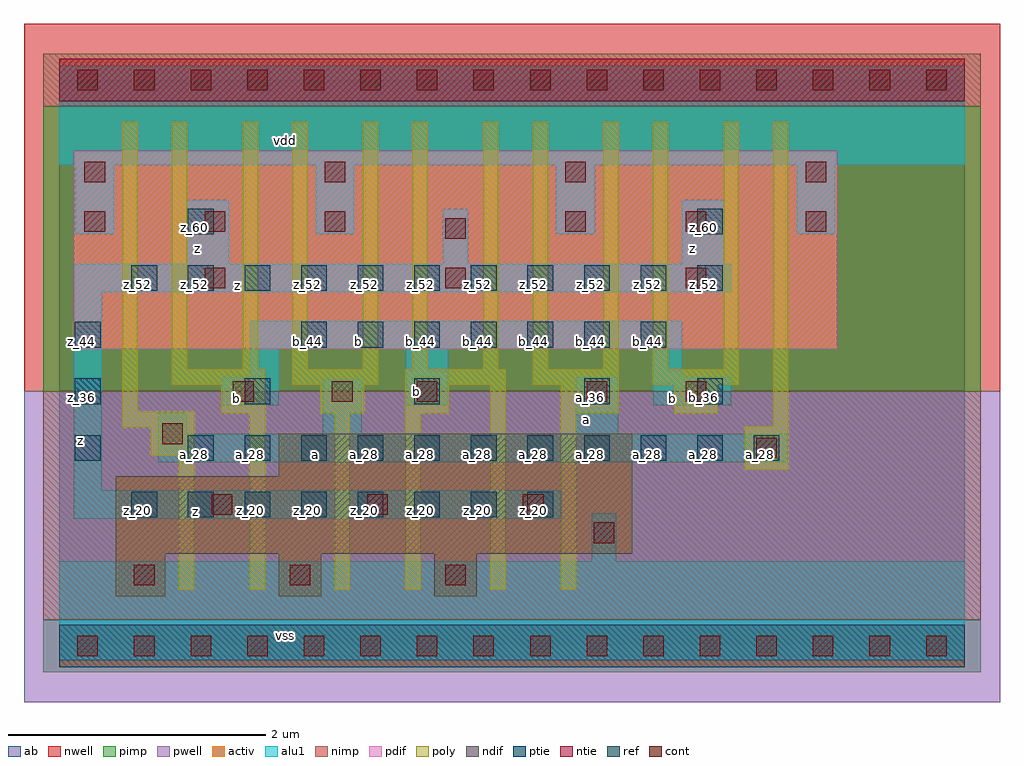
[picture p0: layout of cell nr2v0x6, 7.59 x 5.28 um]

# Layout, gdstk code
import gdstk
lib = gdstk.Library(unit=1e-6, precision=2.5e-09)
def R(c, l, rs):  # rectangles x0, y0, x1, y1
    for r in rs: c.add(gdstk.rectangle(r[:2], r[2:], *l))
def A(c, l, x, y, w, h, nx, ny, dx, dy):  # array of equal rectangles
    R(c, l, [(x+i*dx, y+j*dy, x+i*dx+w, y+j*dy+h) for i in range(nx) for j in range(ny)])
ndif = (3, 0)
pdif = (4, 0)
ntie = (5, 0)
ptie = (6, 0)
ref = (24, 0)
cont = (25, 0)
pwell = (41, 0)
nwell = (42, 0)
activ = (43, 0)
pimp = (44, 0)
nimp = (45, 0)
poly = (46, 0)
alu1 = (49, 0)
ab = (63, 0)

nr2v0x6 = lib.new_cell('nr2v0x6')
R(nr2v0x6, ndif, [(0.44,0.385,0.825,0.715), (1.705,0.385,2.035,0.715), (2.915,0.385,3.245,0.715), (0.44,0.715,4.455,1.32), (1.705,1.32,4.455,1.65)])
R(nr2v0x6, pdif, [(0.11,2.31,6.05,3.85)])
R(nr2v0x6, ntie, [(0,4.235,7.04,4.565)])
R(nr2v0x6, ptie, [(0,-0.165,7.04,0.165)])
A(nr2v0x6, ref, 0.56, 1, 0.2, 0.2, 8, 1, 0.44, 0)
A(nr2v0x6, ref, 1, 1.44, 0.2, 0.2, 11, 1, 0.44, 0)
A(nr2v0x6, ref, 0.12, 1.88, 0.2, 0.2, 4, 1, 1.32, 0)
A(nr2v0x6, ref, 1.88, 2.32, 0.2, 0.2, 7, 1, 0.44, 0)
A(nr2v0x6, ref, 0.56, 2.76, 0.2, 0.2, 11, 1, 0.44, 0)
R(nr2v0x6, ref, [(0.12,1.44,0.32,1.64), (4.96,1.88,5.16,2.08), (0.12,2.32,0.32,2.52), (1,3.2,1.2,3.4), (4.96,3.2,5.16,3.4)])
A(nr2v0x6, cont, 0.14, -0.08, 0.16, 0.16, 16, 2, 0.44, 4.4)
A(nr2v0x6, cont, 0.58, 0.47, 0.16, 0.16, 3, 1, 1.21, 0)
A(nr2v0x6, cont, 1.185, 1.02, 0.16, 0.16, 3, 1, 1.21, 0)
A(nr2v0x6, cont, 1.13, 2.78, 0.16, 0.16, 3, 1, 1.87, 0)
A(nr2v0x6, cont, 0.195, 3.22, 0.16, 0.16, 3, 1, 0.935, 0)
A(nr2v0x6, cont, 3.935, 3.22, 0.16, 0.16, 3, 1, 0.935, 0)
A(nr2v0x6, cont, 0.195, 3.605, 0.16, 0.16, 4, 1, 1.87, 0)
R(nr2v0x6, cont, [(4.155,0.8,4.315,0.96), (5.42,1.46,5.58,1.62), (0.8,1.57,0.96,1.73), (1.35,1.9,1.51,2.06), (2.12,1.9,2.28,2.06), (2.78,1.9,2.94,2.06), (4.1,1.9,4.26,2.06), (4.87,1.9,5.03,2.06), (3,3.165,3.16,3.325)])
R(nr2v0x6, pwell, [(-0.275,-0.44,7.315,1.98)])
R(nr2v0x6, nwell, [(-0.275,1.98,7.315,4.84)])
R(nr2v0x6, activ, [(0,-0.165,7.04,0.165), (0.44,0.385,0.825,0.715), (1.705,0.385,2.035,0.715), (2.915,0.385,3.245,0.715), (0.44,0.715,4.455,1.32), (1.705,1.32,4.455,1.65), (0.11,2.31,6.05,3.85), (0,4.235,7.04,4.565)])
R(nr2v0x6, pimp, [(-0.125,-0.205,7.165,0.205), (-0.125,1.98,7.165,4.195)])
R(nr2v0x6, nimp, [(-0.125,0.205,7.165,1.98), (-0.125,4.195,7.165,4.605)])
R(nr2v0x6, poly, [(0.93,0.435,1.05,1.48), (1.48,0.435,1.6,1.81), (2.14,0.435,2.26,1.81), (2.69,0.435,2.81,1.81), (3.35,0.435,3.47,2.03), (3.9,0.435,4.02,1.81), (5.33,1.37,5.67,1.71), (0.71,1.48,1.05,1.7), (0.49,1.7,1.05,1.82), (5.55,1.71,5.67,4.075), (1.26,1.81,1.6,2.03), (2.03,1.81,2.37,2.03), (2.69,1.81,3.03,2.03), (3.9,1.81,4.35,2.03), (4.78,1.81,5.12,2.03), (0.49,1.82,0.61,4.075), (0.875,2.03,1.6,2.15), (1.81,2.03,2.48,2.15), (2.69,2.03,3.47,2.15), (3.68,2.03,4.35,2.15), (4.615,2.03,5.285,2.15), (0.875,2.15,0.995,4.075), (1.425,2.15,1.545,4.075), (1.81,2.15,1.93,4.075), (2.36,2.15,2.48,4.075), (2.745,2.15,2.865,4.075), (3.295,2.15,3.415,4.075), (3.68,2.15,3.8,4.075), (4.23,2.15,4.35,4.075), (4.615,2.15,4.735,4.075), (5.165,2.15,5.285,4.075)])
A(nr2v0x6, alu1, 0.125, 3.205, 0.3, 0.535, 4, 1, 1.87, 0)
R(nr2v0x6, alu1, [(0,-0.11,7.04,0.66), (4.14,0.66,4.33,1.03), (0.11,0.99,3.905,1.21), (0.11,1.21,0.33,2.75), (0.77,1.43,5.665,1.65), (0.77,1.65,0.99,1.815), (2.05,1.65,2.35,2.075), (4.015,1.65,4.345,2.09), (1.265,1.87,1.705,2.09), (2.695,1.87,3.025,2.31), (4.62,1.87,5.225,2.09), (1.485,2.09,1.705,2.31), (4.62,2.09,4.84,2.31), (1.485,2.31,4.84,2.53), (0.11,2.75,5.225,2.97), (0.99,2.97,1.32,3.465), (2.985,2.97,3.175,3.395), (4.84,2.97,5.17,3.465), (0,3.74,7.04,4.51)])
R(nr2v0x6, ab, [(0,0,7.04,4.4)])
nr2v0x6.add(gdstk.Label('vss', (1.76,0.0825), layer=49, texttype=0))
nr2v0x6.add(gdstk.Label('z', (1.0575,1.045), layer=49, texttype=0))
nr2v0x6.add(gdstk.Label('a', (1.9925,1.485), layer=49, texttype=0))
nr2v0x6.add(gdstk.Label('b', (4.77,1.925), layer=49, texttype=0))
nr2v0x6.add(gdstk.Label('a', (4.0975,1.76), layer=49, texttype=0))
nr2v0x6.add(gdstk.Label('b', (2.7775,1.98), layer=49, texttype=0))
nr2v0x6.add(gdstk.Label('b', (1.375,1.925), layer=49, texttype=0))
nr2v0x6.add(gdstk.Label('b', (2.3225,2.365), layer=49, texttype=0))
nr2v0x6.add(gdstk.Label('z', (0.165,1.595), layer=49, texttype=0))
nr2v0x6.add(gdstk.Label('z', (1.3875,2.805), layer=49, texttype=0))
nr2v0x6.add(gdstk.Label('z', (4.9225,3.0925), layer=49, texttype=0))
nr2v0x6.add(gdstk.Label('z', (1.0725,3.0925), layer=49, texttype=0))
nr2v0x6.add(gdstk.Label('vdd', (1.76,3.9325), layer=49, texttype=0))
nr2v0x6.add(gdstk.Label('a_28', (5.45,1.49), layer=24, texttype=0))
nr2v0x6.add(gdstk.Label('z_20', (0.61,1.05), layer=24, texttype=0))
nr2v0x6.add(gdstk.Label('z_52', (0.61,2.81), layer=24, texttype=0))
nr2v0x6.add(gdstk.Label('z_20', (1.05,1.05), layer=24, texttype=0))
nr2v0x6.add(gdstk.Label('a_28', (1.05,1.49), layer=24, texttype=0))
nr2v0x6.add(gdstk.Label('z_52', (1.05,2.81), layer=24, texttype=0))
nr2v0x6.add(gdstk.Label('z_60', (1.05,3.25), layer=24, texttype=0))
nr2v0x6.add(gdstk.Label('z_20', (1.49,1.05), layer=24, texttype=0))
nr2v0x6.add(gdstk.Label('a_28', (1.49,1.49), layer=24, texttype=0))
nr2v0x6.add(gdstk.Label('b_36', (1.49,1.93), layer=24, texttype=0))
nr2v0x6.add(gdstk.Label('z_52', (1.49,2.81), layer=24, texttype=0))
nr2v0x6.add(gdstk.Label('z_20', (1.93,1.05), layer=24, texttype=0))
nr2v0x6.add(gdstk.Label('a_28', (1.93,1.49), layer=24, texttype=0))
nr2v0x6.add(gdstk.Label('b_44', (1.93,2.37), layer=24, texttype=0))
nr2v0x6.add(gdstk.Label('z_52', (1.93,2.81), layer=24, texttype=0))
nr2v0x6.add(gdstk.Label('z_28', (0.17,1.49), layer=24, texttype=0))
nr2v0x6.add(gdstk.Label('z_36', (0.17,1.93), layer=24, texttype=0))
nr2v0x6.add(gdstk.Label('z_44', (0.17,2.37), layer=24, texttype=0))
nr2v0x6.add(gdstk.Label('z_20', (2.37,1.05), layer=24, texttype=0))
nr2v0x6.add(gdstk.Label('a_28', (2.37,1.49), layer=24, texttype=0))
nr2v0x6.add(gdstk.Label('b_44', (2.37,2.37), layer=24, texttype=0))
nr2v0x6.add(gdstk.Label('z_52', (2.37,2.81), layer=24, texttype=0))
nr2v0x6.add(gdstk.Label('z_20', (2.81,1.05), layer=24, texttype=0))
nr2v0x6.add(gdstk.Label('a_28', (2.81,1.49), layer=24, texttype=0))
nr2v0x6.add(gdstk.Label('b_36', (2.81,1.93), layer=24, texttype=0))
nr2v0x6.add(gdstk.Label('b_44', (2.81,2.37), layer=24, texttype=0))
nr2v0x6.add(gdstk.Label('z_52', (2.81,2.81), layer=24, texttype=0))
nr2v0x6.add(gdstk.Label('z_20', (3.25,1.05), layer=24, texttype=0))
nr2v0x6.add(gdstk.Label('a_28', (3.25,1.49), layer=24, texttype=0))
nr2v0x6.add(gdstk.Label('b_44', (3.25,2.37), layer=24, texttype=0))
nr2v0x6.add(gdstk.Label('z_52', (3.25,2.81), layer=24, texttype=0))
nr2v0x6.add(gdstk.Label('z_20', (3.69,1.05), layer=24, texttype=0))
nr2v0x6.add(gdstk.Label('a_28', (3.69,1.49), layer=24, texttype=0))
nr2v0x6.add(gdstk.Label('b_44', (3.69,2.37), layer=24, texttype=0))
nr2v0x6.add(gdstk.Label('z_52', (3.69,2.81), layer=24, texttype=0))
nr2v0x6.add(gdstk.Label('a_28', (4.13,1.49), layer=24, texttype=0))
nr2v0x6.add(gdstk.Label('a_36', (4.13,1.93), layer=24, texttype=0))
nr2v0x6.add(gdstk.Label('b_44', (4.13,2.37), layer=24, texttype=0))
nr2v0x6.add(gdstk.Label('z_52', (4.13,2.81), layer=24, texttype=0))
nr2v0x6.add(gdstk.Label('a_28', (4.57,1.49), layer=24, texttype=0))
nr2v0x6.add(gdstk.Label('b_44', (4.57,2.37), layer=24, texttype=0))
nr2v0x6.add(gdstk.Label('z_52', (4.57,2.81), layer=24, texttype=0))
nr2v0x6.add(gdstk.Label('a_28', (5.01,1.49), layer=24, texttype=0))
nr2v0x6.add(gdstk.Label('b_36', (5.01,1.93), layer=24, texttype=0))
nr2v0x6.add(gdstk.Label('z_52', (5.01,2.81), layer=24, texttype=0))
nr2v0x6.add(gdstk.Label('z_60', (5.01,3.25), layer=24, texttype=0))

lib.write_gds('nr2v0x6.gds')
